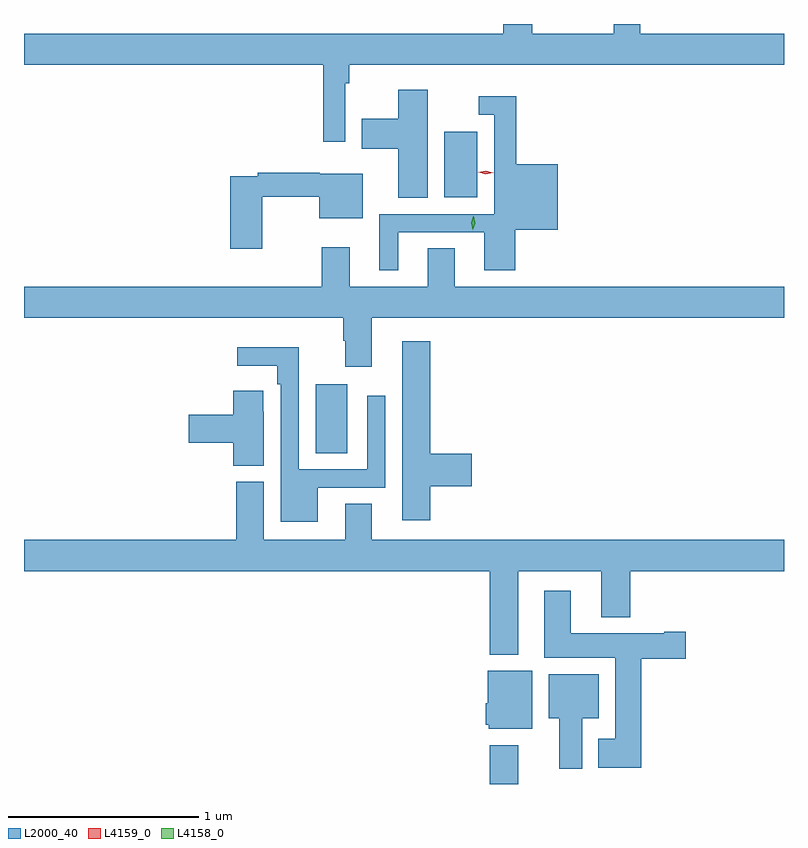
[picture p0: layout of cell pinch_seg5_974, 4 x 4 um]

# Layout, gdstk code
import gdstk
lib = gdstk.Library(unit=1e-6, precision=1e-09)
def R(c, l, rs):  # rectangles x0, y0, x1, y1
    for r in rs: c.add(gdstk.rectangle(r[:2], r[2:], *l))
def P(c, l, *ps):  # polygons
    for p in ps: c.add(gdstk.Polygon(p, *l))
L2000_40 = (2000, 40)
L4158_0 = (4158, 0)
L4159_0 = (4159, 0)

pinch_seg5_974 = lib.new_cell('pinch_seg5_974')
R(pinch_seg5_974, L2000_40, [(726.803,883.611,726.955,883.816), (725.888,885.352,726.055,885.715), (726.566,886.7,726.739,887.044)])
P(pinch_seg5_974, L2000_40, [(726.045,887.3),(726.065,887.3),(726.065,887.396),(728.353,887.396),(728.353,887.56),(727.596,887.56),(727.596,887.611),(727.457,887.611),(727.457,887.56),(727.027,887.56),(727.027,887.611),(726.875,887.611),(726.875,887.56),(724.353,887.56),(724.353,887.396),(725.929,887.396),(725.929,886.992),(726.045,886.992)],
  [(726.478,887.266),(726.323,887.266),(726.323,887.113),(726.13,887.113),(726.13,886.955),(726.323,886.955),(726.323,886.696),(726.478,886.696)],
  [(726.322,886.515),(726.776,886.515),(726.776,886.314),(726.938,886.314),(726.938,886.529),(727.162,886.529),(727.162,886.873),(726.944,886.873),(726.944,887.23),(726.747,887.23),(726.747,887.133),(726.828,887.133),(726.828,886.611),(726.224,886.611),(726.224,886.314),(726.322,886.314)],
  [(725.608,886.701),(725.906,886.701),(725.906,886.589),(726.136,886.589),(726.136,886.822),(725.91,886.822),(725.91,886.829),(725.584,886.829),(725.584,886.809),(725.438,886.809),(725.438,886.428),(725.608,886.428)],
  [(726.184,886.064),(728.353,886.064),(728.353,886.228),(726.619,886.228),(726.619,886.43),(726.479,886.43),(726.479,886.228),(726.067,886.228),(726.067,886.435),(725.92,886.435),(725.92,886.228),(724.353,886.228),(724.353,886.064),(726.032,886.064),(726.032,885.944),(726.044,885.944),(726.044,885.807),(726.184,885.807)],
  [(726.491,885.179),(726.709,885.179),(726.709,885.35),(726.491,885.35),(726.491,885.94),(726.344,885.94),(726.344,885),(726.491,885)],
  [(725.899,885.171),(726.255,885.171),(726.255,885.655),(726.159,885.655),(726.159,885.267),(725.799,885.267),(725.799,885.91),(725.475,885.91),(725.475,885.812),(725.687,885.812),(725.687,885.716),(725.703,885.716),(725.703,884.99),(725.899,884.99)],
  [(725.614,885.569),(725.613,885.569),(725.613,885.682),(725.453,885.682),(725.453,885.554),(725.22,885.554),(725.22,885.407),(725.453,885.407),(725.453,885.286),(725.614,885.286)],
  [(726.955,884.732),(727.391,884.732),(727.391,884.489),(727.544,884.489),(727.544,884.732),(728.353,884.732),(728.353,884.896),(726.184,884.896),(726.184,885.086),(726.044,885.086),(726.044,884.896),(725.614,884.896),(725.614,885.201),(725.471,885.201),(725.471,884.896),(724.353,884.896),(724.353,884.732),(726.803,884.732),(726.803,884.291),(726.955,884.291)],
  [(727.601,884.27),(727.837,884.27),(727.837,884.412),(727.724,884.412),(727.724,884.404),(727.231,884.404),(727.231,884.629),(727.091,884.629),(727.091,884.276),(727.466,884.276),(727.466,883.849),(727.376,883.849),(727.376,883.697),(727.601,883.697)],
  [(727.027,884.206),(726.794,884.206),(726.794,884.037),(726.782,884.037),(726.782,883.923),(726.798,883.923),(726.798,883.901),(727.027,883.901)],
  [(727.291,883.958),(727.378,883.958),(727.378,884.188),(727.115,884.188),(727.115,883.958),(727.169,883.958),(727.169,883.692),(727.291,883.692)])
P(pinch_seg5_974, L4158_0, [(726.716,886.528),(726.716,886.528),(726.707,886.564),(726.718,886.598),(726.718,886.598),(726.719,886.598),(726.727,886.563),(726.716,886.528)])
P(pinch_seg5_974, L4159_0, [(726.783,886.819),(726.743,886.83),(726.743,886.83),(726.743,886.831),(726.784,886.839),(726.824,886.828),(726.824,886.828),(726.824,886.828)])

lib.write_gds('pinch_seg5_974.gds')
